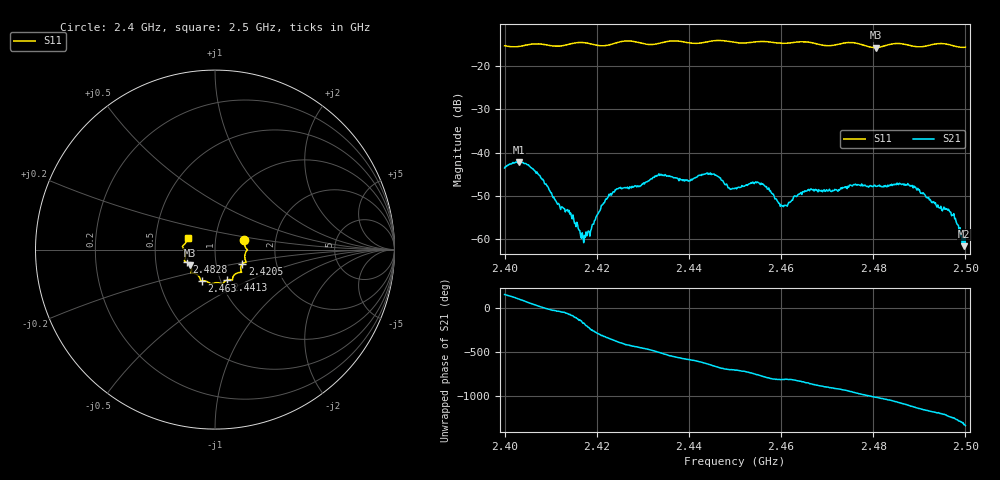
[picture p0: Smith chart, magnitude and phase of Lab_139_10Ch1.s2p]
# Hz S RI R 50
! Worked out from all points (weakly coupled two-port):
!   601 points, 2.4 GHz to 2.5 GHz, reference 50 ohm
!   highest |S21| = -42.13 dB at 2.4032 GHz (marker M1); lowest = -61.6 dB at 2.4997 GHz (marker M2)
!   lowest |S11| = -15.7 dB at 2.4805 GHz (marker M3), VSWR 1.39, Z = 37.3 - j6.68 ohm
!   |S11| at or under -10 dB: start of sweep to end of sweep
!   S12 and S22 are empty: the file has one direction only
!   S11 on the Smith chart (normalised r, x): 2.4 GHz: 1.38, +0.15; 2.4205 GHz: 1.34, -0.22; 2.4413 GHz: 1.08, -0.38; 2.463 GHz: 0.82, -0.29; 2.4828 GHz: 0.72, -0.10; 2.5 GHz: 0.73, +0.10
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2.4e9  0.1629 0.0526  -0.00606 0.00273  0 0  0 0
2.403167e9  0.1678 0.017  -0.00173 0.00763  0 0  0 0
2.4075e9  0.1802 -0.00182  0.00511 0.00199  0 0  0 0
2.416667e9  0.1735 -0.0696  -0.000831 -0.000601  0 0  0 0
2.418333e9  0.1676 -0.0717  -0.000931 0.000798  0 0  0 0
2.4205e9  0.1521 -0.081  0.00087 0.00189  0 0  0 0
2.4245e9  0.1449 -0.1183  0.00358 -0.00134  0 0  0 0
2.433333e9  0.1003 -0.1515  -0.00419 -0.00358  0 0  0 0
2.441333e9  0.0675 -0.1697  -0.00284 0.00424  0 0  0 0
2.445167e9  0.0431 -0.1904  0.00215 0.00521  0 0  0 0
2.45e9  0.0246 -0.1857  0.00369 0.00121  0 0  0 0
2.4555e9  -0.0187 -0.1911  0.003 -0.00304  0 0  0 0
2.460333e9  -0.0494 -0.176  -4.18e-05 -0.00244  0 0  0 0
2.463e9  -0.0721 -0.1735  -0.000415 -0.00314  0 0  0 0
2.466667e9  -0.0814 -0.1673  -0.0029 -0.00239  0 0  0 0
2.4805e9  -0.1383 -0.087  0.00154 0.0038  0 0  0 0
2.482833e9  -0.1583 -0.07  0.00287 0.00286  0 0  0 0
2.483333e9  -0.1625 -0.0683  0.00324 0.00249  0 0  0 0
2.488667e9  -0.1648 -0.0397  0.003 -0.00251  0 0  0 0
2.496167e9  -0.1765 0.0236  -0.00173 -0.0013  0 0  0 0
2.499667e9  -0.1534 0.0591  -0.000375 0.000741  0 0  0 0
2.5e9  -0.1521 0.064  -0.000271 0.000849  0 0  0 0
